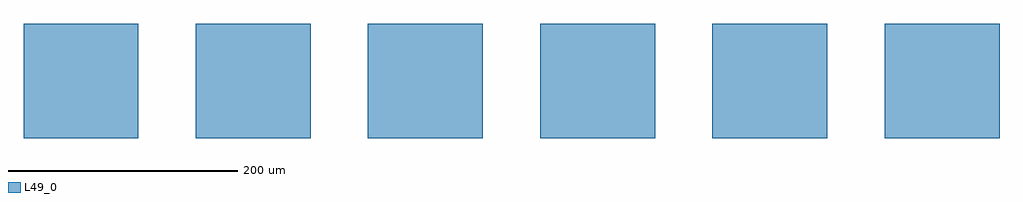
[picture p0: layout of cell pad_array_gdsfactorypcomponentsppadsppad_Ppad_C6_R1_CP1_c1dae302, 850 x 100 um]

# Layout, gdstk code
import gdstk
lib = gdstk.Library(unit=1e-6, precision=1e-09)
def R(c, l, rs):  # rectangles x0, y0, x1, y1
    for r in rs: c.add(gdstk.rectangle(r[:2], r[2:], *l))
L49_0 = (49, 0)

pad_gdsfactorypcomponent = lib.new_cell('pad_gdsfactorypcomponentsppadsppad_S100_100_LMTOP_BLNon_82713a36')
R(pad_gdsfactorypcomponent, L49_0, [(-50,-50,50,50)])

pad_array_gdsfactorypcom = lib.new_cell('pad_array_gdsfactorypcomponentsppadsppad_Ppad_C6_R1_CP1_c1dae302')
r = gdstk.Reference(pad_gdsfactorypcomponent, (0,0)); r.repetition = gdstk.Repetition(6, 1, v1=(150,0), v2=(0,0)); pad_array_gdsfactorypcom.add(r)

lib.write_gds('pad_array_gdsfactorypcomponentsppadsppad_Ppad_C6_R1_CP1_c1dae302.gds')
